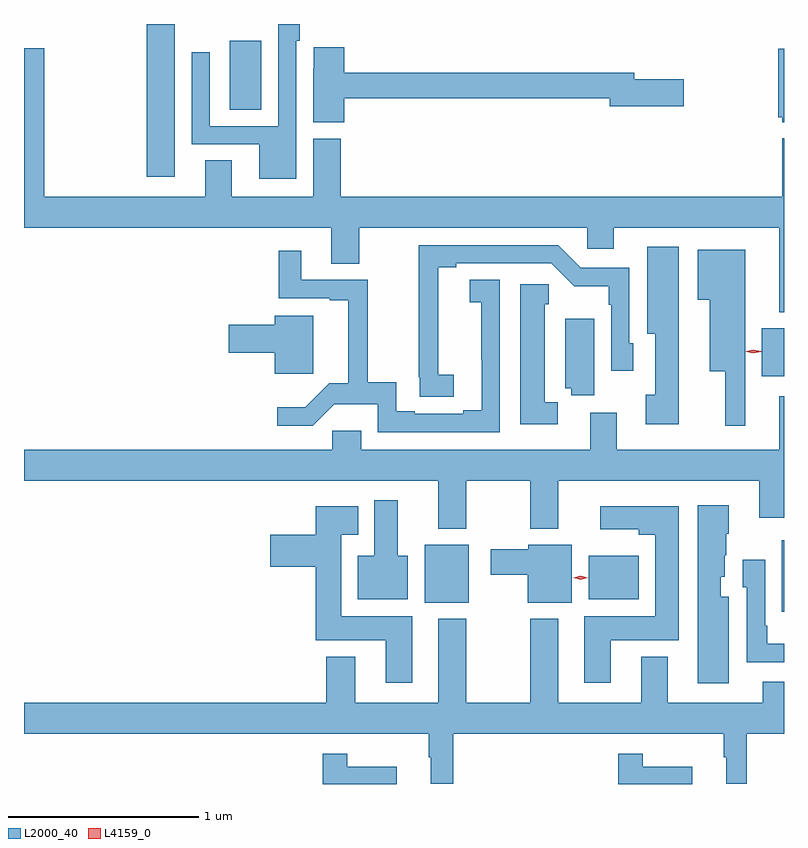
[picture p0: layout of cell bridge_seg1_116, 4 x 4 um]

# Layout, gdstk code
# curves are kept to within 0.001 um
import gdstk
lib = gdstk.Library(unit=1e-6, precision=1e-09)
def R(c, l, rs):  # rectangles x0, y0, x1, y1
    for r in rs: c.add(gdstk.rectangle(r[:2], r[2:], *l))
def P(c, l, *ps):  # polygons
    for p in ps: c.add(gdstk.Polygon(p, *l))
L2000_40 = (2000, 40)
L4159_0 = (4159, 0)

bridge_seg1_116 = lib.new_cell('bridge_seg1_116')
R(bridge_seg1_116, L2000_40, [(127.178,547.047,127.189,547.423), (125.297,547.094,125.53,547.399), (126.161,547.112,126.424,547.342), (127.073,548.285,127.189,548.539), (123.836,549.336,123.982,550.14), (124.271,549.688,124.438,550.051)])
P(bridge_seg1_116, L2000_40, [(124.623,550.052),(124.639,550.052),(124.639,550.14),(124.527,550.14),(124.527,549.603),(124.167,549.603),(124.167,549.991),(124.071,549.991),(124.071,549.507),(124.427,549.507),(124.427,549.326),(124.623,549.326)],
  [(124.874,549.748),(126.272,549.748),(126.272,549.706),(126.661,549.706),(126.661,549.848),(126.4,549.848),(126.4,549.884),(124.874,549.884),(124.874,550.018),(124.713,550.018),(124.713,549.905),(124.712,549.905),(124.712,549.622),(124.874,549.622)],
  [(124.856,549.537),(124.712,549.537),(124.712,549.232),(124.282,549.232),(124.282,549.422),(124.142,549.422),(124.142,549.232),(123.296,549.232),(123.296,550.012),(123.189,550.012),(123.189,549.068),(124.805,549.068),(124.805,548.878),(124.953,548.878),(124.953,549.068),(126.153,549.068),(126.153,548.958),(126.292,548.958),(126.292,549.068),(127.163,549.068),(127.163,548.624),(127.189,548.624),(127.189,549.538),(127.181,549.538),(127.181,549.232),(124.856,549.232)],
  [(127.189,550.009),(127.16,550.009),(127.16,549.648),(127.179,549.648),(127.179,549.623),(127.189,549.623)],
  [(125.452,548.294),(125.37,548.294),(125.368,548.86),(125.464,548.86),(125.464,548.88),(125.964,548.88),(126.085,548.759),(126.267,548.759),(126.267,548.663),(126.279,548.663),(126.279,548.316),(126.396,548.316),(126.396,548.46),(126.375,548.46),(126.375,548.856),(126.12,548.856),(126,548.976),(125.266,548.976),(125.266,548.281),(125.272,548.281),(125.272,548.179),(125.452,548.179)],
  [(126.634,548.968),(126.47,548.968),(126.47,548.51),(126.512,548.51),(126.512,548.19),(126.462,548.19),(126.462,548.034),(126.634,548.034)],
  [(126.985,548.953),(126.734,548.953),(126.734,548.69),(126.797,548.69),(126.797,548.312),(126.881,548.312),(126.881,548.025),(126.985,548.025)],
  [(125.694,548.795),(125.535,548.795),(125.535,548.675),(125.596,548.675),(125.597,548.108),(125.501,548.108),(125.501,548.088),(125.245,548.088),(125.245,548.102),(125.148,548.102),(125.148,548.255),(124.997,548.255),(124.997,548.793),(124.648,548.793),(124.648,548.947),(124.531,548.947),(124.531,548.697),(124.799,548.697),(124.799,548.685),(124.895,548.685),(124.895,548.248),(124.795,548.248),(124.669,548.122),(124.521,548.122),(124.521,548.025),(124.71,548.025),(124.823,548.138),(125.052,548.138),(125.052,547.992),(125.694,547.992)],
  [(125.998,548.148),(125.929,548.148),(125.929,548.664),(125.951,548.664),(125.951,548.77),(125.801,548.77),(125.801,548.033),(125.998,548.033)],
  [(124.711,548.605),(124.508,548.605),(124.508,548.558),(124.266,548.558),(124.266,548.411),(124.508,548.411),(124.508,548.3),(124.711,548.3)],
  [(126.19,548.59),(126.038,548.59),(126.038,548.222),(126.07,548.222),(126.07,548.185),(126.19,548.185)],
  [(125.517,547.736),(125.854,547.736),(125.854,547.484),(126.001,547.484),(126.001,547.736),(127.058,547.736),(127.058,547.542),(127.189,547.542),(127.189,548.182),(127.163,548.182),(127.163,547.9),(126.31,547.9),(126.31,548.095),(126.17,548.095),(126.17,547.9),(124.963,547.9),(124.963,547.998),(124.812,547.998),(124.812,547.9),(123.189,547.9),(123.189,547.736),(125.369,547.736),(125.369,547.484),(125.517,547.484)],
  [(125.209,547.342),(125.155,547.342),(125.155,547.633),(125.033,547.633),(125.033,547.342),(124.946,547.342),(124.946,547.112),(125.209,547.112)],
  [(126.898,547.126),(126.856,547.126),(126.856,547.23),(126.877,547.23),(126.877,547.344),(126.885,547.344),(126.885,547.458),(126.898,547.458),(126.898,547.606),(126.734,547.606),(126.734,546.669),(126.898,546.669)],
  [(125.233,547.024),(124.858,547.024),(124.858,547.451),(124.948,547.451),(124.948,547.603),(124.724,547.603),(124.724,547.453),(124.485,547.453),(124.485,547.283),(124.724,547.283),(124.724,546.896),(125.093,546.896),(125.093,546.672),(125.233,546.672)],
  [(126.277,546.896),(126.634,546.896),(126.634,547.603),(126.222,547.603),(126.222,547.481),(126.425,547.481),(126.425,547.451),(126.512,547.451),(126.512,547.024),(126.137,547.024),(126.137,546.672),(126.277,546.672)],
  [(126.073,547.399),(125.844,547.399),(125.844,547.375),(125.646,547.375),(125.646,547.241),(125.84,547.241),(125.84,547.094),(126.073,547.094)],
  [(127.189,546.877),(127.102,546.877),(127.102,546.973),(127.089,546.973),(127.089,547.321),(126.972,547.321),(126.972,547.176),(126.993,547.176),(126.993,546.78),(127.189,546.78)],
  [(125.447,546.404),(126.873,546.404),(126.873,546.281),(126.884,546.281),(126.884,546.141),(126.994,546.141),(126.994,546.404),(127.189,546.404),(127.189,546.678),(127.076,546.678),(127.076,546.568),(126.577,546.568),(126.577,546.811),(126.437,546.811),(126.437,546.568),(126.001,546.568),(126.001,547.009),(125.854,547.009),(125.854,546.568),(125.517,546.568),(125.517,547.009),(125.369,547.009),(125.369,546.568),(124.933,546.568),(124.933,546.811),(124.781,546.811),(124.781,546.568),(123.189,546.568),(123.189,546.404),(125.319,546.404),(125.319,546.281),(125.33,546.281),(125.33,546.141),(125.447,546.141)],
  [(126.706,546.232),(126.445,546.232),(126.445,546.298),(126.316,546.298),(126.316,546.14),(126.706,546.14)],
  [(125.152,546.232),(124.891,546.232),(124.891,546.298),(124.762,546.298),(124.762,546.14),(125.152,546.14)])
P(bridge_seg1_116, L4159_0, [(127.028,548.406),(126.989,548.416),(126.989,548.417),(126.989,548.417),(127.028,548.426),(127.068,548.417),(127.068,548.416),(127.068,548.416)],
  [(126.118,547.216),(126.079,547.226),(126.079,547.226),(126.079,547.226),(126.118,547.236),(126.156,547.226),(126.156,547.226),(126.156,547.226)])

lib.write_gds('bridge_seg1_116.gds')
